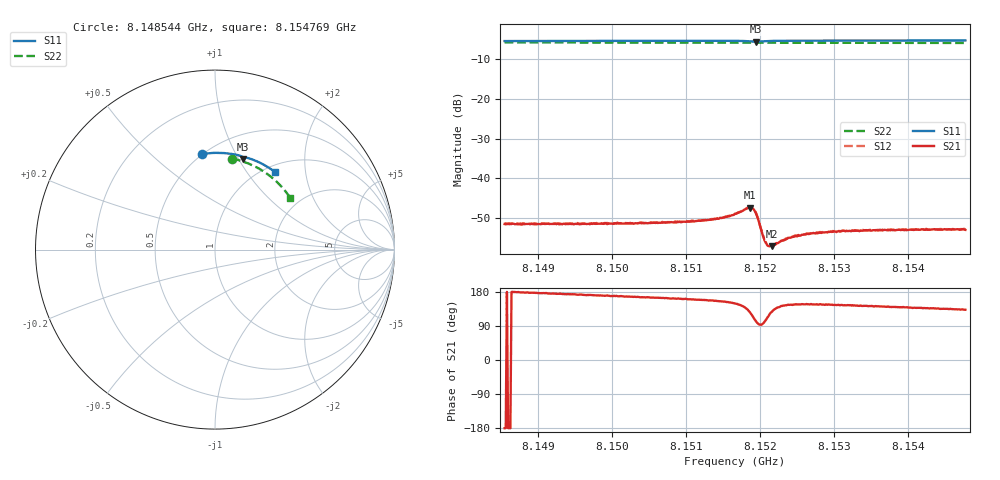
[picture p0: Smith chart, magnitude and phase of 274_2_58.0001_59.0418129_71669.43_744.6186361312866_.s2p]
#  HZ  S  RI  R  50.00
! Rohde & Schwarz Vector Network Analyzer
! Rohde-Schwarz,ZNB20-2Port,1311601062101988,3.16
! Created: UTC 3/21/2024, 1:02:36 AM
! freq[Hz]  re:S11  im:S11  re:S21  im:S21  re:S12  im:S12  re:S22  im:S22
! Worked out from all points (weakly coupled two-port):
!   401 points, 8.148544 GHz to 8.154769 GHz, reference 50 ohm
!   highest |S21| = -47.42 dB at 8.151859 GHz (marker M1); lowest = -57.2 dB at 8.152154 GHz (marker M2)
!   lowest |S11| = -5.5 dB at 8.151936 GHz (marker M3), VSWR 3.25, Z = 37.3 + j52.3 ohm
!   |S11| at or under -10 dB: nowhere
!   |S22| runs from -5.9 to -5.7 dB; largest |S21 - S12| = 0.00012
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8.1485438e9  -0.0719 0.5323  -0.00263 -2.85e-06  -0.00267 2.77e-05  0.094 0.5075
8.1495865e9  0.00062 0.5389  -0.00261 0.000352  -0.00264 0.000399  0.1595 0.4897
8.1506291e9  0.0734 0.5357  -0.00264 0.000756  -0.00265 0.000801  0.2219 0.4637
8.1512516e9  0.117 0.5287  -0.00273 0.00109  -0.00274 0.00114  0.2573 0.4442
8.151485e9  0.1336 0.5246  -0.00283 0.00136  -0.00284 0.0014  0.2701 0.4361
8.1516562e9  0.1464 0.5202  -0.00303 0.0018  -0.00303 0.00184  0.2791 0.4299
8.1518118e9  0.1575 0.5125  -0.00293 0.00289  -0.00292 0.00296  0.2873 0.424
8.1518585e9  0.1592 0.5087  -0.00248 0.00346  -0.00245 0.00349  0.2896 0.4222
8.1519052e9  0.1583 0.5055  -0.00154 0.00377  -0.00152 0.0038  0.2919 0.4206
8.1519363e9  0.1566 0.5052  -0.000816 0.00354  -0.00079 0.00363  0.2934 0.4194
8.1519674e9  0.1558 0.5068  -0.000315 0.00304  -0.000255 0.00302  0.295 0.4182
8.1520297e9  0.1583 0.5107  -0.00018 0.00191  -0.000159 0.00193  0.2983 0.4163
8.1520608e9  0.1608 0.512  -0.000343 0.00157  -0.000318 0.00157  0.2998 0.4151
8.1520919e9  0.1635 0.5126  -0.000521 0.00132  -0.000522 0.00137  0.3015 0.4139
8.1521075e9  0.1649 0.5128  -0.000594 0.00125  -0.000612 0.00127  0.3022 0.4133
8.1521542e9  0.169 0.5128  -0.000833 0.0011  -0.000841 0.00114  0.3047 0.4115
8.1522942e9  0.1801 0.511  -0.00129 0.000986  -0.00126 0.00102  0.3118 0.406
8.1524343e9  0.1904 0.5083  -0.00149 0.00103  -0.00149 0.00104  0.3189 0.4004
8.1526989e9  0.2085 0.502  -0.00168 0.0011  -0.00169 0.0011  0.3318 0.3892
8.1531346e9  0.2368 0.4901  -0.00176 0.00125  -0.00174 0.00127  0.3521 0.3703
8.1537415e9  0.2746 0.4711  -0.0017 0.00143  -0.00169 0.00143  0.3783 0.342
8.1547686e9  0.3343 0.4326  -0.0015 0.00164  -0.00153 0.00166  0.4176 0.2901
